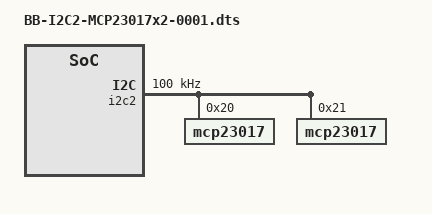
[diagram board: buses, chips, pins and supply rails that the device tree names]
/*
 * Copyright (C) 2020 Robert Heller D/B/A Deepwoods Software
 *
 * Virtual cape for I2C2 on connector pins P9.19 P9.20
 * + 2x MCP23017 (@20 and @21)
 *
 * This program is free software; you can redistribute it and/or modify
 * it under the terms of the GNU General Public License version 2 as
 * published by the Free Software Foundation.
 */

/dts-v1/;
/plugin/;

#include <dt-bindings/board/am335x-bbw-bbb-base.h>
#include <dt-bindings/pinctrl/am33xx.h>

/ {
	compatible = "ti,beaglebone", "ti,beaglebone-black", "ti,beaglebone-green";

	// identification
	part-number = "BB-I2C2-MCP23017x2";
	version = "0001";

	// resources this cape uses
	exclusive-use =
		"P9.19",	// i2c2_sda
		"P9.20",	// i2c2_scl

		"i2c2";		// hardware ip used

	/*
	 * Free up the pins used by the cape from the pinmux helpers.
	 */
	fragment@0 {
		target = <&ocp>;
		__overlay__ {
			P9_19_pinmux { status = "disabled"; };	/* i2c2_scl */
			P9_20_pinmux { status = "disabled"; };	/* i2c2_sda */
		};
	};

	fragment@1 {
		target = <&am33xx_pinmux>;
		__overlay__ {
			bb_i2c2_pins: pinmux_bb_i2c2_pins {
				pinctrl-single,pins = <
					BONE_P9_20 0x73	/* i2c2_sda, SLEWCTRL_SLOW | INPUT_PULLUP | MODE3 */
					BONE_P9_19 0x73	/* i2c2_scl, SLEWCTRL_SLOW | INPUT_PULLUP | MODE3 */
				>;
			};
		};
	};

	fragment@2 {
		target = <&i2c2>;
		__overlay__ {
			status = "okay";
			pinctrl-names = "default";
			pinctrl-0 = <&bb_i2c2_pins>;

			/* this is the configuration part */
			clock-frequency = <100000>;

			#address-cells = <1>;
			#size-cells = <0>;

			/* add any i2c devices on the bus here */

                        mcp23017@20 {
                                compatible = "mcp23017";
                                reg = <0x20>;
                        };
                        mcp23017@21 {
                                compatible = "mcp23017";
                                reg = <0x21>;
                        };
		};
	};
};

